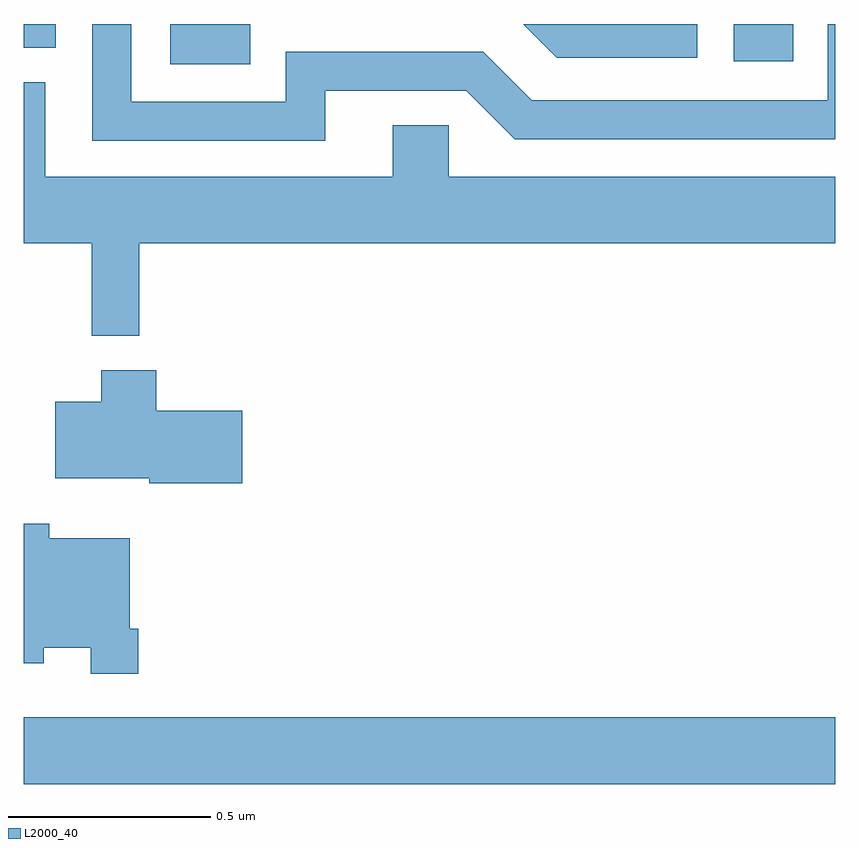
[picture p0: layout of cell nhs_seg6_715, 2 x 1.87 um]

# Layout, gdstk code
import gdstk
lib = gdstk.Library(unit=1e-6, precision=1e-09)
def R(c, l, rs):  # rectangles x0, y0, x1, y1
    for r in rs: c.add(gdstk.rectangle(r[:2], r[2:], *l))
def P(c, l, *ps):  # polygons
    for p in ps: c.add(gdstk.Polygon(p, *l))
L2000_40 = (2000, 40)

nhs_seg6_715 = lib.new_cell('nhs_seg6_715')
R(nhs_seg6_715, L2000_40, [(119,988.628,121,988.792), (119.361,990.401,119.559,990.5), (120.75,990.408,120.896,990.5), (119,990.441,119.079,990.5)])
P(nhs_seg6_715, L2000_40, [(119.743,990.336),(120.09,990.336),(120.21,990.216),(121,990.216),(121,990.5),(120.981,990.5),(120.981,990.312),(120.252,990.312),(120.132,990.432),(119.646,990.432),(119.646,990.309),(119.265,990.309),(119.265,990.5),(119.169,990.5),(119.169,990.213),(119.743,990.213)],
  [(120.66,990.5),(120.231,990.5),(120.314,990.417),(120.66,990.417)],
  [(119.285,989.96),(121,989.96),(121,990.124),(120.048,990.124),(120.048,990.251),(119.909,990.251),(119.909,990.124),(119.053,990.124),(119.053,990.356),(119,990.356),(119,989.96),(119.168,989.96),(119.168,989.732),(119.285,989.732)],
  [(119.539,989.547),(119.327,989.547),(119.327,989.647),(119.192,989.647),(119.192,989.569),(119.078,989.569),(119.078,989.381),(119.31,989.381),(119.31,989.369),(119.539,989.369)],
  [(119.282,989.011),(119.262,989.011),(119.262,989.233),(119.063,989.233),(119.063,989.269),(119,989.269),(119,988.925),(119.05,988.925),(119.05,988.964),(119.166,988.964),(119.166,988.899),(119.282,988.899)])

lib.write_gds('nhs_seg6_715.gds')
